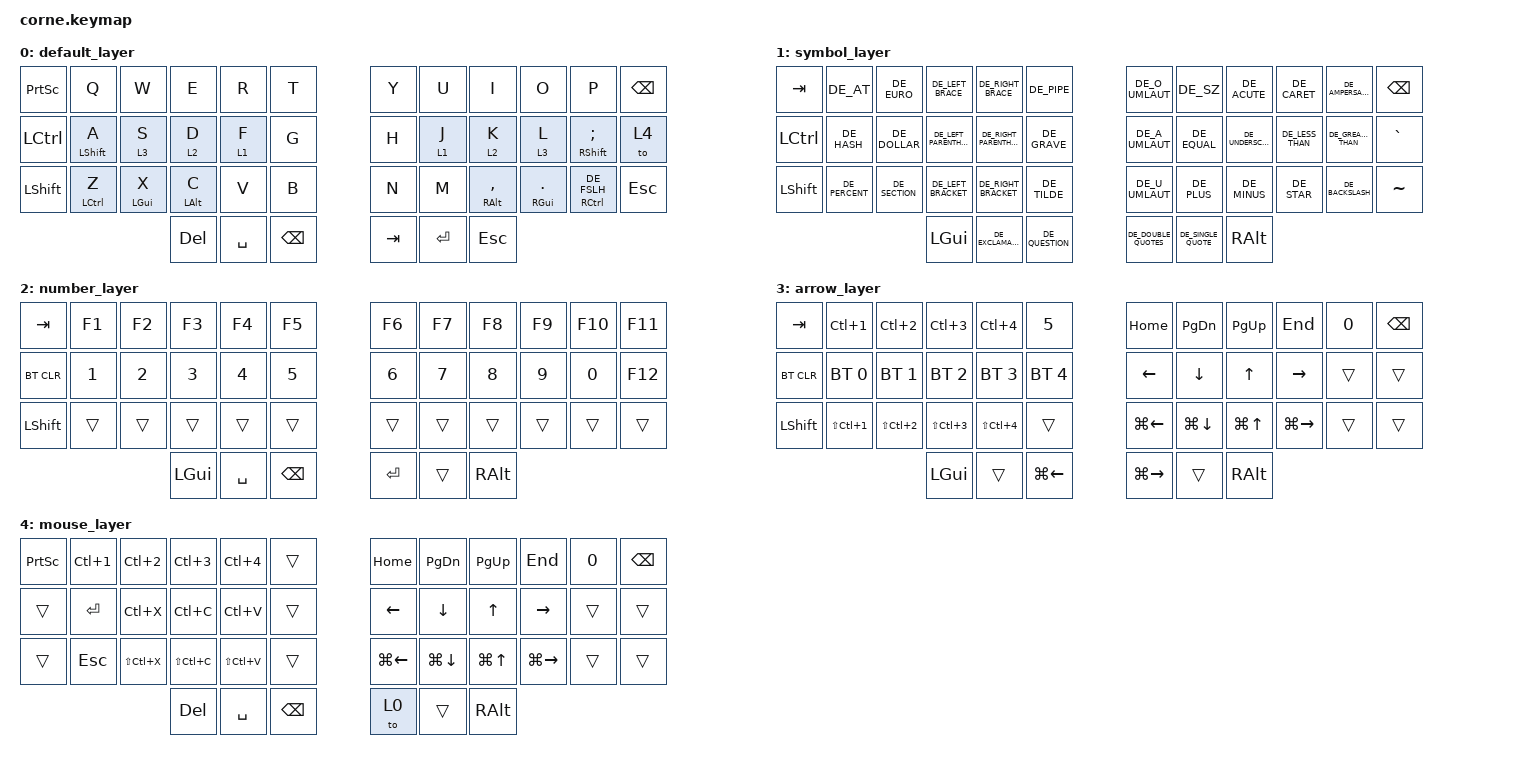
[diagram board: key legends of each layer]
/*
 * Copyright (c) 2020 The ZMK Contributors
 *
 * SPDX-License-Identifier: MIT
 */

#include <behaviors.dtsi>
#include <dt-bindings/zmk/keys.h>
#include <dt-bindings/zmk/bt.h>
#include "keys_de.h"

/ {
        keymap {
                compatible = "zmk,keymap";

                default_layer {
// -----------------------------------------------------------------------------------------
// |  TAB |  Q  |  W  |  E  |  R  |  T  |   |  Y  |  U   |  I  |  O  |  P  | BKSP |
// | CTRL |  A  |  S  |  D  |  F  |  G  |   |  H  |  J   |  K  |  L  |  ;  |  '   |
// | SHFT |  Z  |  X  |  C  |  V  |  B  |   |  N  |  M   |  ,  |  .  |  /  | ESC  |
//                    | GUI | LWR | SPC |   | ENT | RSE  | ALT |
                        bindings = <
   &kp PRINTSCREEN &kp Q        &kp W      &kp E      &kp R     &kp T     &kp Y   &kp U    &kp I          &kp O        &kp P             &kp BSPC
   &kp LCTRL       &mt LSHIFT A &lt 3 S    &lt 2 D    &lt 1 F   &kp G     &kp H   &lt 1 J  &lt 2 K        &lt 3 L      &mt RSHIFT SEMI   &to 4
   &kp LSHFT       &mt LCTRL Z  &mt LGUI X &mt LALT C &kp V     &kp B     &kp N   &kp M    &mt RALT COMMA &mt RGUI DOT &mt RCTRL DE_FSLH &kp ESC
                                           &kp DEL    &kp SPACE &kp BSPC  &kp TAB &kp RET  &kp ESC
                        >;
                };
                symbol_layer {
// -----------------------------------------------------------------------------------------
// |  TAB |  !  |  @  |  #  |  $  |  %  |   |  ^  |  &  |  *  |  (  |  )  | BKSP |
// | CTRL |     |     |     |     |     |   |  -  |  =  |  [  |  ]  |  \  |  `   |
// | SHFT |     |     |     |     |     |   |  _  |  +  |  {  |  }  | "|" |  ~   |
//                    | GUI |     | SPC |   | ENT |     | ALT |
                        bindings = <
   &kp  TAB  &kp DE_AT      &kp DE_EURO    &kp DE_LEFT_BRACE       &kp DE_RIGHT_BRACE       &kp DE_PIPE          &kp DE_O_UMLAUT      &kp DE_SZ           &kp DE_ACUTE      &kp DE_CARET     &kp DE_AMPERSAND    &kp BSPC
   &kp LCTRL &kp DE_HASH    &kp DE_DOLLAR  &kp DE_LEFT_PARENTHESIS &kp DE_RIGHT_PARENTHESIS &kp DE_GRAVE         &kp DE_A_UMLAUT      &kp DE_EQUAL        &kp DE_UNDERSCORE &kp DE_LESS_THAN &kp DE_GREATER_THAN &kp GRAVE
   &kp LSHFT &kp DE_PERCENT &kp DE_SECTION &kp DE_LEFT_BRACKET     &kp DE_RIGHT_BRACKET     &kp DE_TILDE         &kp DE_U_UMLAUT      &kp DE_PLUS         &kp DE_MINUS      &kp DE_STAR      &kp DE_BACKSLASH    &kp TILDE
                                           &kp LGUI                &kp DE_EXCLAMATION       &kp DE_QUESTION      &kp DE_DOUBLE_QUOTES &kp DE_SINGLE_QUOTE &kp RALT
                        >;
                };

                number_layer {
// -----------------------------------------------------------------------------------------
// |  TAB |  1  |  2  |  3  |  4  |  5  |   |  6  |  7  |  8  |  9  |  0  | BKSP |
// | BTCLR| BT1 | BT2 | BT3 | BT4 | BT5 |   | LFT | DWN |  UP | RGT |     |      |
// | SHFT |     |     |     |     |     |   |     |     |     |     |     |      |
//                    | GUI |     | SPC |   | ENT |     | ALT |
                        bindings = <
   &kp TAB    &kp F1 &kp F2 &kp F3   &kp F4    &kp F5   &kp F6  &kp F7 &kp F8   &kp F9 &kp F10 &kp F11
   &bt BT_CLR &kp N1 &kp N2 &kp N3   &kp N4    &kp N5   &kp N6  &kp N7 &kp N8   &kp N9 &kp N0  &kp F12
   &kp LSHFT  &trans &trans &trans   &trans    &trans   &trans  &trans &trans   &trans &trans  &trans
                            &kp LGUI &kp SPACE &kp BSPC &kp RET &trans &kp RALT
                        >;
                };
                arrow_layer {
                        bindings = <
   &kp TAB    &kp LC(N1)     &kp LC(N2)     &kp LC(N3)     &kp LC(N4)     &kp N5       &kp HOME      &kp PAGE_DOWN &kp PAGE_UP   &kp END       &kp N0 &kp BSPC
   &bt BT_CLR &bt BT_SEL 0   &bt BT_SEL 1   &bt BT_SEL 2   &bt BT_SEL 3   &bt BT_SEL 4 &kp LEFT      &kp DOWN      &kp UP        &kp RIGHT     &trans &trans
   &kp LSHFT  &kp LS(LC(N1)) &kp LS(LC(N2)) &kp LS(LC(N3)) &kp LS(LC(N4)) &trans       &kp LG(LEFT)  &kp LG(DOWN)  &kp LG(UP)    &kp LG(RIGHT) &trans &trans
                                            &kp LGUI       &trans         &kp LG(LEFT) &kp LG(RIGHT) &trans        &kp RALT
                        >;
                };
                mouse_layer {
                        bindings = <
   &kp PRINTSCREEN &kp LC(N1) &kp LC(N2)    &kp LC(N3)    &kp LC(N4)    &trans   &kp HOME     &kp PAGE_DOWN &kp PAGE_UP &kp END        &kp N0 &kp BSPC
   &trans          &kp RET    &kp LC(X)     &kp LC(C)     &kp LC(V)     &trans   &kp LEFT     &kp DOWN      &kp UP      &kp RIGHT      &trans &trans
   &trans          &kp ESC    &kp LS(LC(X)) &kp LS(LC(C)) &kp LS(LC(V)) &trans   &kp LG(LEFT) &kp LG(DOWN)  &kp LG(UP)  &kp LG(RIGHT)  &trans &trans
                                            &kp DEL       &kp SPACE     &kp BSPC &to 0        &trans        &kp RALT
                        >;
                };
        };
};
